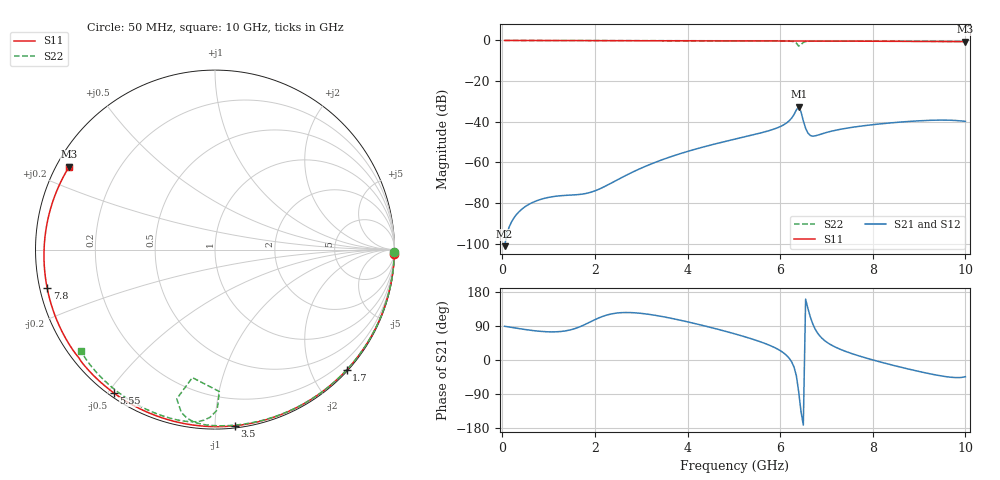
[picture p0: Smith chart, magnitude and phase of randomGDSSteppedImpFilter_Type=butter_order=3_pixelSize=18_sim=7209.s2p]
! freq	dB(S11)	phase(S11)	dB(S12)	phase(S12)
!  dB(S21)	phase(S21)	dB(S22)	phase(S22)
!S-par simulation data
#  GHz  S  DB  R 50
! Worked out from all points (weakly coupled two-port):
!   200 points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, 50 MHz to 10 GHz, reference 50 ohm
!   highest |S21| = -32.57 dB at 6.4 GHz (marker M1); lowest = -101.2 dB at 50 MHz (marker M2)
!   lowest |S11| = -0.6 dB at 10 GHz (marker M3), VSWR 29.67, Z = 1.8 + j13.2 ohm
!   |S11| at or under -10 dB: nowhere
!   |S22| runs from -2.8 to 0.0 dB; largest |S21 - S12| = 0
!   S11 on the Smith chart (normalised r, x): 50 MHz: 0, -89; 1.7 GHz: 0.02, -2.58; 3.5 GHz: 0.01, -1.12; 5.55 GHz: 0.01, -0.52; 7.8 GHz: 0.02, -0.11; 10 GHz: 0.04, +0.26
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0.05  -0.00 -1.3  -101.15 89.0  -101.15 89.0  -0.00 -0.8
0.6  -0.02 -15.2  -80.27 78.6  -80.27 78.6  -0.01 -9.8
1.05  -0.03 -26.5  -76.95 74.2  -76.95 74.2  -0.02 -17.1
1.7  -0.05 -42.4  -75.63 88.9  -75.63 88.9  -0.03 -27.5
1.75  -0.06 -43.6  -75.47 91.6  -75.47 91.6  -0.04 -28.3
2.05  -0.06 -50.8  -73.51 109.3  -73.51 109.3  -0.04 -33.0
2.6  -0.08 -63.6  -67.16 125.1  -67.16 125.1  -0.05 -41.6
3.4  -0.10 -81.4  -59.09 115.9  -59.09 115.9  -0.07 -53.8
3.5  -0.11 -83.6  -58.26 113.6  -58.26 113.6  -0.07 -55.3
5.05  -0.17 -115.4  -48.38 68.0  -48.38 68.0  -0.12 -78.1
5.55  -0.20 -125.1  -45.65 49.1  -45.65 49.1  -0.14 -85.4
6.1  -0.23 -135.6  -41.15 16.2  -41.15 16.2  -0.23 -94.8
6.3  -0.24 -139.4  -36.41 -18.8  -36.41 -18.8  -0.66 -101.7
6.35  -0.25 -140.4  -34.17 -41.5  -34.17 -41.5  -1.33 -104.4
6.4  -0.27 -141.3  -32.57 -83.8  -32.57 -83.8  -2.80 -100.0
6.45  -0.28 -142.1  -35.05 -135.7  -35.05 -135.7  -2.04 -88.2
6.55  -0.27 -143.9  -43.17 160.6  -43.17 160.6  -0.59 -91.7
6.6  -0.27 -144.9  -45.55 135.9  -45.55 135.9  -0.43 -93.6
6.7  -0.27 -146.7  -47.04 96.6  -47.04 96.6  -0.31 -96.4
7.8  -0.36 -167.1  -41.95 7.2  -41.95 7.2  -0.28 -113.2
8.35  -0.41 -177.4  -40.60 -11.2  -40.60 -11.2  -0.32 -120.4
10  -0.59 150.4  -39.78 -44.1  -39.78 -44.1  -0.58 -142.8
